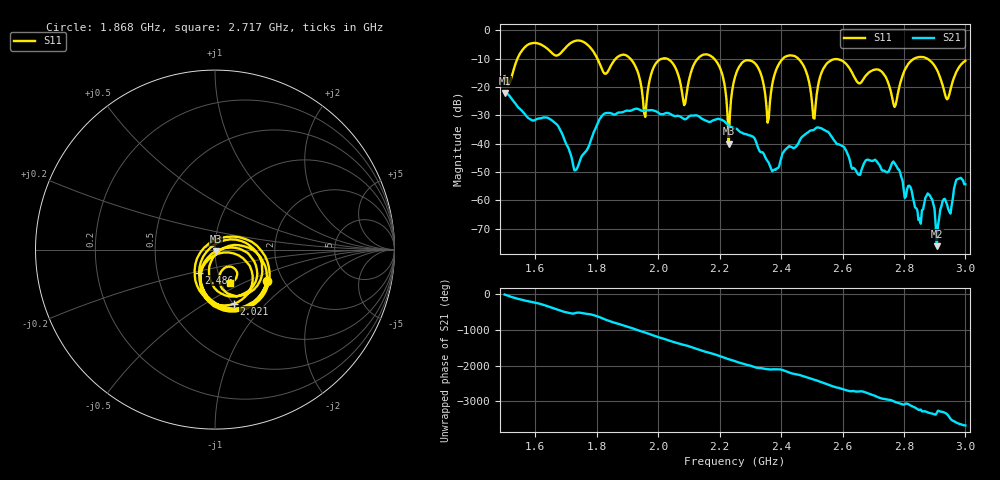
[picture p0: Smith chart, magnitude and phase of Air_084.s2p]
# HZ S RI R 50
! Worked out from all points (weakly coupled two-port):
!   404 points, 1.5 GHz to 3 GHz, reference 50 ohm
!   highest |S21| = -22.09 dB at 1.5 GHz (marker M1); lowest = -76.1 dB at 2.907 GHz (marker M2)
!   lowest |S11| = -40.0 dB at 2.23 GHz (marker M3), VSWR 1.02, Z = 50.5 - j0.857 ohm
!   |S11| at or under -10 dB: 2.182 GHz to 2.406 GHz (224.6 MHz wide, 9.79 % of centre); 2.456 GHz to 2.833 GHz (377.7 MHz wide, 14.3 % of centre); 2.875 GHz to end of sweep (the widest 3 of 7)
!   S12 and S22 are empty: the file has one direction only
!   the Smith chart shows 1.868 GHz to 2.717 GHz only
!   S11 on the Smith chart (normalised r, x): 1.868 GHz: 1.65, -0.66; 2.021 GHz: 1.00, -0.68; 2.486 GHz: 0.81, -0.21; 2.717 GHz: 1.09, -0.42
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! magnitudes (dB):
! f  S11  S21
! 1.5 GHz  -16.2  -22.1
! 1.753 GHz  -3.9  -44.1
! 1.868 GHz  -9.4  -29.1
! 1.958 GHz  -30.6  -28.2
! 2.002 GHz  -10.5  -29.3
! 2.021 GHz  -9.9  -29.3
! 2.084 GHz  -26.4  -31.3
! 2.177 GHz  -9.6  -31.8
! 2.23 GHz  -40.0  -33.6
! 2.252 GHz  -15.9  -34.7
! 2.315 GHz  -11.7  -38.4
! 2.356 GHz  -32.6  -46.1
! 2.375 GHz  -17.3  -49.3
! 2.427 GHz  -8.9  -40.8
! 2.486 GHz  -16.2  -36.1
! 2.501 GHz  -26.0  -35.3
! 2.561 GHz  -10.7  -36.9
! 2.717 GHz  -13.9  -47.1
! 2.751 GHz  -19.1  -49.7
! 2.907 GHz  -13.9  -76.1
! 2.94 GHz  -24.4  -61.6
! 3 GHz  -10.8  -54.3
